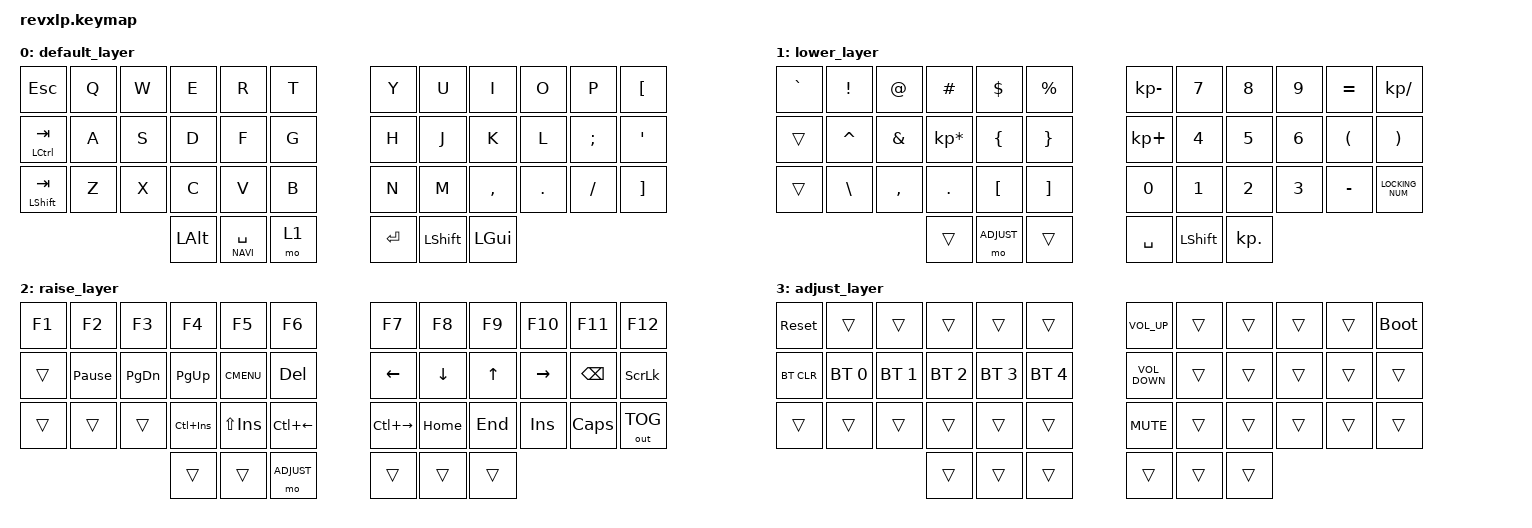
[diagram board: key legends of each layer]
/*
 * Copyright (c) 2020 The ZMK Contributors
 *
 * SPDX-License-Identifier: MIT
 * To use home rows - &hm LSHFT F
 */

#include <behaviors.dtsi>
#include <dt-bindings/zmk/keys.h>
#include <dt-bindings/zmk/bt.h>
#include <dt-bindings/zmk/outputs.h>

#define QWERTY 0
#define NUMB 1
#define NAVI 2
#define ADJUST 3

/ {

    behaviors {        
        hm: homerow_mods {
        compatible = "zmk,behavior-hold-tap";
        label = "HOMEROW_MODS";
        #binding-cells = <2>;
        tapping-term-ms = <150>;
        quick_tap_ms = <0>;
        flavor = "tap-preferred";
        bindings = <&kp>, <&kp>;
        };
    };

        keymap {
                compatible = "zmk,keymap";

                default_layer {
// .----------------------------------------------------------------.                 .------------------------------------------------------------------------.
// |   ESC      |    Q    |    W   |   E    |    R    |      T      |                 |     Y     |      U       |      I      |    O    |     P    |    [     |
// |------------+---------+--------+--------+---------+-------------|                 |-----------+--------------+-------------+---------+----------+----------|
// | CTRL/TAB   |    A    |    S   |   D    |    F    |      G      |                 |     H     |      J       |      K      |    L    |     ;    |    '     |
// |------------+---------+--------+--------+---------+-------------|                 |-----------+--------------+-------------+---------+----------+----------|
// | SHFT/TAB   |    Z    |    X   |   C    |    V    |      B      |                 |     N     |      M       |      ,      |    .    |     /    |    ]     |
// '-------------------------------+--------+---------+-------------+                 |-----------+--------------+-------------+-------------------------------'
//                                 |  ALT   |MO2/SPACE|     MO1     |                 |    ENT    |     SHFT     |     GUI     |
//                                 '--------+---------+-------------'                 '-----------+--------------+-------------'
                        bindings = <
   &kp ESC        &kp Q       &kp W      &kp E     &kp R           &kp T                &kp Y          &kp U               &kp I        &kp O     &kp P      &kp LEFT_BRACKET
   &mt LCTRL TAB  &kp A       &kp S      &kp D     &kp F           &kp G      	        &kp H          &kp J               &kp K        &kp L     &kp SEMI   &kp SQT
   &mt LSHFT TAB  &kp Z       &kp X      &kp C     &kp V           &kp B      	        &kp N          &kp M               &kp COMMA    &kp DOT   &kp FSLH   &kp RIGHT_BRACKET
										 &kp LALT  &lt NAVI SPACE  &mo 1                &kp RET        &kp LSHFT           &kp LGUI    
                        >;
                };
                
                lower_layer {
// .--------------------------------------------------------------.                   .-----------------------------------------------------------.
// |     `        |    !    |    @   |   #    |    $    |    %    |                   | NUM - |    7    |    8    |    9    |     =    |     /    |
// |--------------+---------+--------+--------+---------+---------|                   |-------+---------+---------+---------+----------+----------|
// |   CTRL/TAB   |    ^    |    &   |   *    |    {    |    }    |                   |   +   |    4    |    5    |    6    |     (    |     )    |
// |--------------+---------+--------+--------+---------+---------|                   |-------+---------+---------+---------+----------+----------|
// |   SHFT/TAB   |    \    |    ,   |   .    |    [    |    ]    |                   |   0   |    1    |    2    |    3    |     -    |  NUMLOCK |
// '---------------------------------+--------+---------+---------+                   |-------+---------+---------+-------------------------------'
//                                   |  ALT   |   MO3   |         |                   | SPACE |   SHFT  |    .    |
//                                   '--------+---------+---------'                   '-------+---------+---------'
                        bindings = <
   &kp GRAVE  &kp EXCL       &kp AT        &kp HASH        &kp DLLR             &kp PRCNT             &kp KP_MINUS  &kp N7        &kp N8      &kp N9   &kp EQUAL          &kp KP_DIVIDE
   &trans     &kp CARET      &kp AMPS      &kp KP_MULTIPLY &kp LEFT_BRACE       &kp RIGHT_BRACE       &kp KP_PLUS   &kp N4        &kp N5      &kp N6   &kp LPAR           &kp RPAR
   &trans     &kp BACKSLASH  &kp COMMA     &kp DOT         &kp LEFT_BRACKET     &kp RIGHT_BRACKET     &kp N0        &kp N1        &kp N2      &kp N3   &kp MINUS          &kp LOCKING_NUM
                                           &trans          &mo ADJUST           &trans                &kp SPACE     &kp LSHFT     &kp KP_DOT
                        >;
                };
                
                raise_layer {
// .-----------------------------------------------------------------.                .------------------------------------------------------------------------.
// |   	 F1 	|     F2    |   F3   |   F4   |     F5    |   F6     |                |    F7    |      F8     |    F9   |   F10      |    F11   |    F12      |
// |------------+-----------+--------+--------+-----------+----------|                |----------+-------------+---------+------------+----------+-------------|
// |  CTRL/TAB  |PAUSE_BREAK|   PD   |   PU   |   MENU    |   DEL    |                |   LEFT   |     DOWN    |    UP   |   RIGHT    |   BKSP   |  SCROLLLOCK |
// |------------+-----------+--------+--------+-----------+----------|                |----------+-------------+---------+------------+----------+-------------|
// |  SHFT/TAB  |           |        |  COPY  |   PASTE   |CTRL+LEFT |                |CTRL+RIGHT|    HOME     |   END   |   INSERT   |   CAPS   |   OUT_TOG   |
// '---------------------------------+--------+-----------+----------+                |----------+-------------+---------+-------------------------------------'
//                                   |  ALT   |           |    MO3   |                |    ENT   |    SHFT     |   GUI   |
//                                   '--------+-----------+----------'                '----------+-------------+---------'

                        bindings = <
   &kp F1		   &kp F2   		  &kp F3             &kp F4            &kp F5              &kp F6                  &kp F7               &kp F8              &kp F9		   &kp F10             &kp F11     &kp F12
   &trans          &kp PAUSE_BREAK    &kp PAGE_DOWN	     &kp PAGE_UP       &kp K_CMENU         &kp DEL                 &kp LEFT_ARROW       &kp DOWN_ARROW      &kp UP_ARROW   &kp RIGHT_ARROW     &kp BSPC    &kp SCROLLLOCK
   &trans		   &trans    		  &trans             &kp LC(INS)       &kp LS(INS)         &kp LC(LEFT_ARROW)      &kp LC(RIGHT_ARROW)  &kp HOME            &kp END        &kp INSERT          &kp CAPS    &out OUT_TOG
                                                         &trans            &trans              &mo ADJUST                  &trans               &trans              &trans
                        >;
                };

                adjust_layer {
// .--------------------------------------------------------.       .------------------------------------------------------------------.
// |  RESET  |        |        |        |         |         |       |  VOL+  |        |         |             |          | bootloader  |
// |---------+--------+--------+--------+---------+---------|       |--------+--------+---------+-------------+----------+-------------|
// |  BTCLR  |  BT1   |  BT2   |  BT3   |  BT4    |  BT5    |       |  VOL-  |        |         |             |          |             |
// |---------+--------+--------+--------+---------+---------|       |--------+--------+---------+-------------+----------+-------------|
// |         |        |        |        |         |         |       |  MUTE  |        |         |             |          |             |
// '---------------------------+--------+---------+---------+       |--------+--------+---------+--------------------------------------'
//                             |        |         |         |       |        |        |         |
//                             '--------+---------+---------'       '--------+--------+---------'

                        bindings = <
   &sys_reset  &trans          &trans         &trans          &trans          &trans            &kp C_VOLUME_UP    &trans &trans &trans &trans &bootloader
   &bt BT_CLR  &bt BT_SEL 0    &bt BT_SEL 1   &bt BT_SEL 2    &bt BT_SEL 3    &bt BT_SEL 4      &kp C_VOLUME_DOWN  &trans &trans &trans &trans &trans
   &trans      &trans          &trans         &trans          &trans          &trans            &kp C_MUTE         &trans &trans &trans &trans &trans
                                   &trans &trans &trans                                         &trans &trans &trans
                        >;
                };
        };
};
